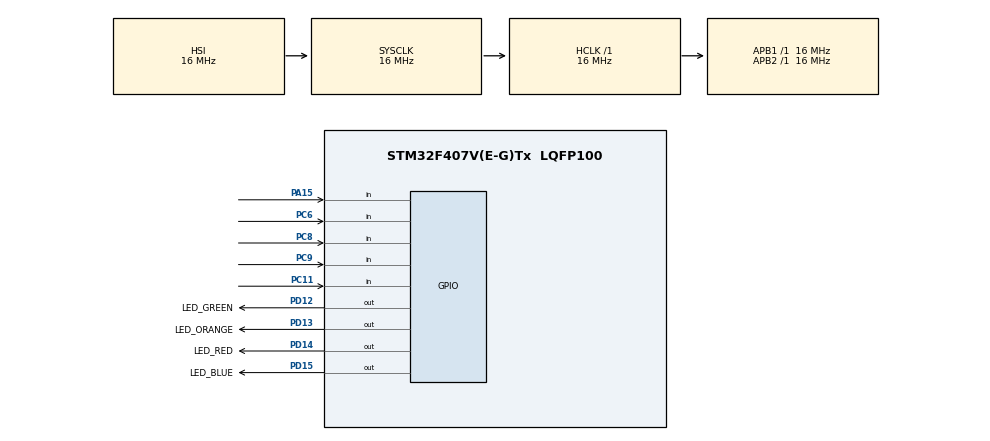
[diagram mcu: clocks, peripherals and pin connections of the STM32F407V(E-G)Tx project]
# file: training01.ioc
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Mcu.Family=STM32F4
Mcu.Name=STM32F407V(E-G)Tx
Mcu.Package=LQFP100
NVIC.PriorityGroup=NVIC_PRIORITYGROUP_4
PA15.Signal=GPIO_Input
PC11.Signal=GPIO_Input
PC6.Signal=GPIO_Input
PC8.Signal=GPIO_Input
PC9.Signal=GPIO_Input
PD12.GPIO_Label=LED_GREEN
PD12.Signal=GPIO_Output
PD13.GPIO_Label=LED_ORANGE
PD13.Signal=GPIO_Output
PD14.GPIO_Label=LED_RED
PD14.Signal=GPIO_Output
PD15.GPIO_Label=LED_BLUE
PD15.Signal=GPIO_Output
ProjectManager.HeapSize=0x200
ProjectManager.StackSize=0x400
ProjectManager.TargetToolchain=STM32CubeIDE
RCC.AHBFreq_Value=16000000
RCC.APB1Freq_Value=16000000
RCC.APB1TimFreq_Value=16000000
RCC.APB2Freq_Value=16000000
RCC.APB2TimFreq_Value=16000000
RCC.CortexFreq_Value=16000000
RCC.HCLKFreq_Value=16000000
RCC.HSE_VALUE=25000000
RCC.HSI_VALUE=16000000
RCC.LSE_VALUE=32768
RCC.SYSCLKFreq_VALUE=16000000
RCC.VCOOutputFreq_Value=192000000
board=custom

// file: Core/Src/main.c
/* USER CODE BEGIN Header */
/**
  ******************************************************************************
  * @file           : main.c
  * @brief          : Main program body
  ******************************************************************************
  * @attention
  *
  * <h2><center>&copy; Copyright (c) 2021 STMicroelectronics.
  * All rights reserved.</center></h2>
  *
  * This software component is licensed by ST under BSD 3-Clause license,
  * the "License"; You may not use this file except in compliance with the
  * License. You may obtain a copy of the License at:
  *                        opensource.org/licenses/BSD-3-Clause
  *
  ******************************************************************************
  */
/* USER CODE END Header */
#include "main.h"

/* USER CODE BEGIN PD */
#define DELAY_STEP 2
#define DELAY_MAX 100
#define DELAY_MIN 1
#define TRUE 1
#define FALSE 0
#define NUM_OF_LEDS 4
/* USER CODE END PD */

/* USER CODE BEGIN PV */
uint16_t ledSelect[NUM_OF_LEDS] = {LED_GREEN_Pin, LED_ORANGE_Pin, LED_RED_Pin, LED_BLUE_Pin};
uint16_t currentDelay = 0;
uint8_t currentLED = 0;
_Bool increaseFlag = FALSE;

/* USER CODE END PV */

void SystemClock_Config(void);
static void MX_GPIO_Init(void);

int main(void)
{

  /* MCU Configuration--------------------------------------------------------*/

  /* Reset of all peripherals, Initializes the Flash interface and the Systick. */
  HAL_Init();

  /* Configure the system clock */
  SystemClock_Config();

  /* Initialize all configured peripherals */
  MX_GPIO_Init();

  /* Infinite loop */
  /* USER CODE BEGIN WHILE */
  while (1)
  {

	  //consecutive light up one LED
	  for(uint8_t i = 0; i < NUM_OF_LEDS; i++){
		  if (i != currentLED) HAL_GPIO_WritePin(GPIOD, ledSelect[i], GPIO_PIN_RESET);
		  else HAL_GPIO_WritePin(GPIOD, ledSelect[i], GPIO_PIN_SET);
	  	  }

	  //moving to next LED
	  if (currentLED < NUM_OF_LEDS) currentLED++;
	  else currentLED = 0;

	  //defining delay
	  if (increaseFlag == TRUE) {
		  if (currentDelay < DELAY_MAX) currentDelay += DELAY_STEP;
		  else increaseFlag = FALSE;
	  	  }
	  else {
		  if (currentDelay > DELAY_MIN) currentDelay -= DELAY_STEP;
		  else increaseFlag = TRUE;
	  	  }

	  HAL_Delay(currentDelay);

	/* USER CODE END WHILE */
  }
}

void SystemClock_Config(void)
{
  RCC_OscInitTypeDef RCC_OscInitStruct = {0};
  RCC_ClkInitTypeDef RCC_ClkInitStruct = {0};

  /** Configure the main internal regulator output voltage
  */
  __HAL_RCC_PWR_CLK_ENABLE();
  __HAL_PWR_VOLTAGESCALING_CONFIG(PWR_REGULATOR_VOLTAGE_SCALE1);
  /** Initializes the RCC Oscillators according to the specified parameters
  * in the RCC_OscInitTypeDef structure.
  */
  RCC_OscInitStruct.OscillatorType = RCC_OSCILLATORTYPE_HSI;
  RCC_OscInitStruct.HSIState = RCC_HSI_ON;
  RCC_OscInitStruct.HSICalibrationValue = RCC_HSICALIBRATION_DEFAULT;
  RCC_OscInitStruct.PLL.PLLState = RCC_PLL_NONE;
  if (HAL_RCC_OscConfig(&RCC_OscInitStruct) != HAL_OK)
  {
    Error_Handler();
  }
  /** Initializes the CPU, AHB and APB buses clocks
  */
  RCC_ClkInitStruct.ClockType = RCC_CLOCKTYPE_HCLK|RCC_CLOCKTYPE_SYSCLK
                              |RCC_CLOCKTYPE_PCLK1|RCC_CLOCKTYPE_PCLK2;
  RCC_ClkInitStruct.SYSCLKSource = RCC_SYSCLKSOURCE_HSI;
  RCC_ClkInitStruct.AHBCLKDivider = RCC_SYSCLK_DIV1;
  RCC_ClkInitStruct.APB1CLKDivider = RCC_HCLK_DIV1;
  RCC_ClkInitStruct.APB2CLKDivider = RCC_HCLK_DIV1;

  if (HAL_RCC_ClockConfig(&RCC_ClkInitStruct, FLASH_LATENCY_0) != HAL_OK)
  {
    Error_Handler();
  }
}

static void MX_GPIO_Init(void)
{
  GPIO_InitTypeDef GPIO_InitStruct = {0};

  /* GPIO Ports Clock Enable */
  __HAL_RCC_GPIOD_CLK_ENABLE();
  __HAL_RCC_GPIOC_CLK_ENABLE();
  __HAL_RCC_GPIOA_CLK_ENABLE();

  /*Configure GPIO pin Output Level */
  HAL_GPIO_WritePin(GPIOD, LED_GREEN_Pin|LED_ORANGE_Pin|LED_RED_Pin|LED_BLUE_Pin, GPIO_PIN_RESET);

  /*Configure GPIO pins : LED_GREEN_Pin LED_ORANGE_Pin LED_RED_Pin LED_BLUE_Pin */
  GPIO_InitStruct.Pin = LED_GREEN_Pin|LED_ORANGE_Pin|LED_RED_Pin|LED_BLUE_Pin;
  GPIO_InitStruct.Mode = GPIO_MODE_OUTPUT_PP;
  GPIO_InitStruct.Pull = GPIO_NOPULL;
  GPIO_InitStruct.Speed = GPIO_SPEED_FREQ_LOW;
  HAL_GPIO_Init(GPIOD, &GPIO_InitStruct);

  /*Configure GPIO pins : PC6 PC8 PC9 PC11 */
  GPIO_InitStruct.Pin = GPIO_PIN_6|GPIO_PIN_8|GPIO_PIN_9|GPIO_PIN_11;
  GPIO_InitStruct.Mode = GPIO_MODE_INPUT;
  GPIO_InitStruct.Pull = GPIO_NOPULL;
  HAL_GPIO_Init(GPIOC, &GPIO_InitStruct);

  /*Configure GPIO pin : PA15 */
  GPIO_InitStruct.Pin = GPIO_PIN_15;
  GPIO_InitStruct.Mode = GPIO_MODE_INPUT;
  GPIO_InitStruct.Pull = GPIO_NOPULL;
  HAL_GPIO_Init(GPIOA, &GPIO_InitStruct);

}

void Error_Handler(void)
{
  __disable_irq();
  while (1)
  {
  }
}

/************************ (C) COPYRIGHT STMicroelectronics *****END OF FILE****/
